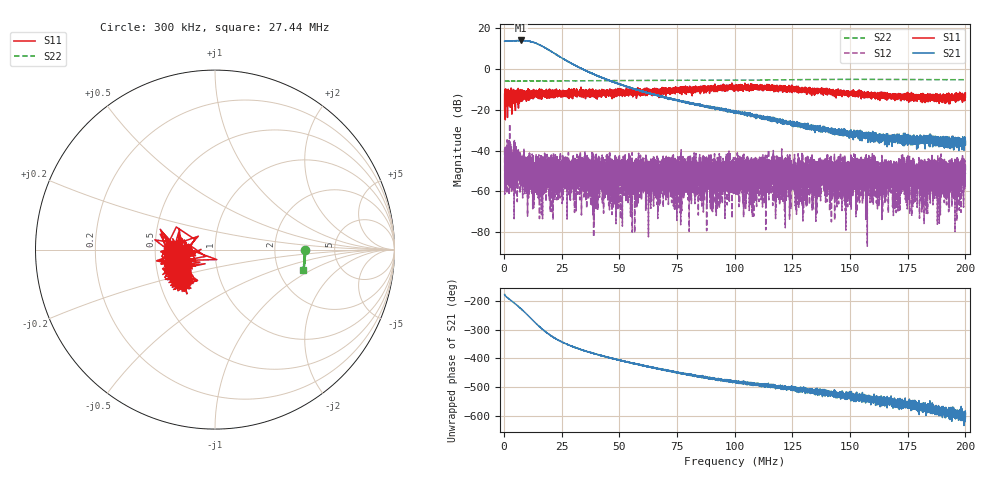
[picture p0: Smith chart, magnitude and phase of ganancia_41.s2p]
# Hz S DB R 50
! CMT, M5065, 19127446, 24.2.4/2
! Date: 11/8/2024 3:11:55 PM
! Data: Format (Calibration Info)
! Freq	S11:dB/Ang(F2)	S21:dB/Ang(F2)	S12:dB/Ang(F2)	S22:dB/Ang(F2)
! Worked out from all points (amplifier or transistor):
!   9000 points, 300 kHz to 200 MHz, reference 50 ohm
!   highest |S21| = 13.9 dB at 7.29 MHz (marker M1)
!   |S21| within 3 dB of that: start of sweep to 16.92 MHz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
!   unconditionally stable (mu >= 1): start of sweep to end of sweep
!   at 33.59 MHz: K = 64.16, MAG = 1.8 dB, |S12| = -45.5 dB
!   at 100.2 MHz: K = 655.27, MAG = -18.8 dB, |S12| = -45.6 dB
!   at 200 MHz: K = 7585.36, MAG = -33.9 dB, |S12| = -51.4 dB
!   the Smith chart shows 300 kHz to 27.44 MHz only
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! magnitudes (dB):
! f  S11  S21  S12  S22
! 300 kHz  -12.5  13.5  -39.4  -6.0
! 7.29 MHz  -11.5  13.9  -54.3  -6.0
! 12.73 MHz  -13.9  13.0  -41.9  -6.0
! 33.59 MHz  -11.9  0.2  -45.5  -5.9
! 66.87 MHz  -10.8  -13.1  -68.8  -5.7
! 69.49 MHz  -10.0  -14.1  -46.9  -5.6
! 100.2 MHz  -8.8  -20.9  -45.6  -5.5
! 102.1 MHz  -10.6  -21.6  -48.5  -5.6
! 107.9 MHz  -9.9  -22.7  -48.7  -5.5
! 115.5 MHz  -9.5  -24.9  -45.6  -5.5
! 126.3 MHz  -10.5  -26.8  -59.1  -5.4
! 128.3 MHz  -10.8  -27.3  -49.6  -5.3
! 130.3 MHz  -10.0  -28.5  -51.5  -5.3
! 133.4 MHz  -9.7  -27.6  -52.1  -5.3
! 148.2 MHz  -11.2  -32.1  -64.5  -5.2
! 151.3 MHz  -12.7  -31.4  -48.5  -5.2
! 164.5 MHz  -11.9  -34.3  -50.6  -5.2
! 166.7 MHz  -12.9  -34.2  -55.5  -5.2
! 171.2 MHz  -12.7  -34.0  -51.0  -5.2
! 172.5 MHz  -12.9  -34.0  -45.9  -5.2
! 178.1 MHz  -12.5  -35.1  -63.6  -5.2
! 200 MHz  -13.8  -35.5  -51.4  -5.4
